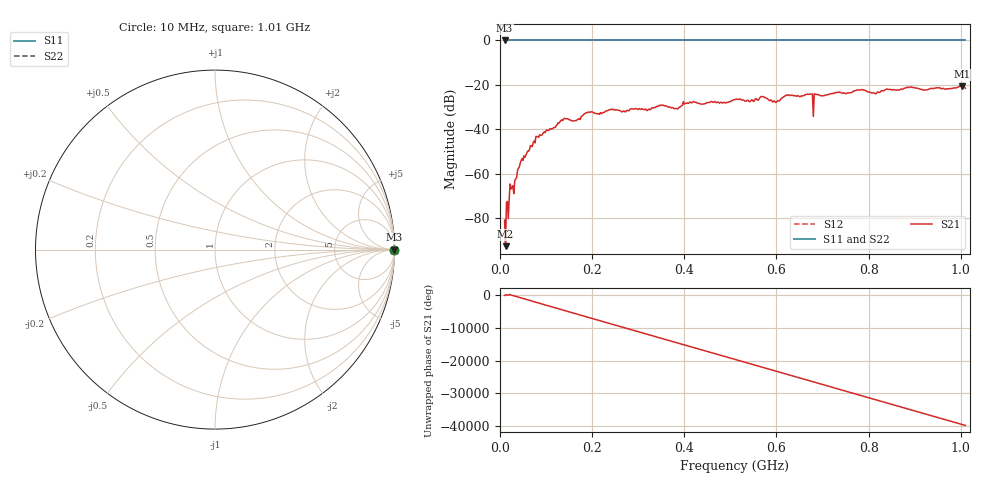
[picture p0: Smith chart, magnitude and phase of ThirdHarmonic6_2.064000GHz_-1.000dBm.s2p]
! 8/17/2025 12:44:00 AM
! C:\ANRITSUVNA\TEMP\TEMP.S2P
! CHANNEL.1
! TR.MEASUREMENT
! RAW.DATA
! RF.CORRECTION.OFF
! AVERAGING.OFF
! IF.BANDWIDTH: 5KHZ
! SWEEPTYPE:  FREQ.SWEEP(Linear)
! Reference Plane Port Info
! PORT:  PORT1  PORT2
! DISTANCE:  0  m  0  m
! TIME:  0  s  0  s
! PHASE.OFFSET:  0  deg.  0  deg.
! LOSS:  0  dB  0  dB
! REF.LOSS:  0  dB  0  dB
! REF.FREQ:  0  Hz  0  Hz
! Power Info
! POWER:  -20  dBm  -20  dBm
! EFF.POWER:  -20  dBm  -20  dBm
! SOURCE.ATTEN:  0  dB  0  dB
! TEST.ATTEN:  0  dB  0  dB
# GHZ S RI R 50.0
! FREQ.GHZ  S11RE  S11IM  S21RE  S21IM  S12RE  S12IM  S22RE  S22IM
!; PortSelection: Port_12
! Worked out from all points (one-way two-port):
!   501 points, 10 MHz to 1.01 GHz, reference 50 ohm
!   highest |S21| = -20.55 dB at 1.002 GHz (marker M1); lowest = -92.5 dB at 12 MHz (marker M2)
!   lowest |S11| = 0.0 dB at 10 MHz (marker M3)
!   |S11| at or under -10 dB: nowhere
!   |S22| runs from 0.0 to 0.0 dB; largest |S21 - S12| = 1.1
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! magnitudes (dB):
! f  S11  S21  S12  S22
! 10 MHz  0.0  -80.8  0.0  0.0
! 12 MHz  0.0  -92.5  0.0  0.0
! 14 MHz  0.0  -73.1  0.0  0.0
! 24 MHz  0.0  -66.8  0.0  0.0
! 32 MHz  0.0  -63.1  0.0  0.0
! 44 MHz  0.0  -55.0  0.0  0.0
! 82 MHz  0.0  -43.2  0.0  0.0
! 136 MHz  0.0  -36.1  0.0  0.0
! 178 MHz  0.0  -34.0  0.0  0.0
! 344 MHz  0.0  -29.6  0.0  0.0
! 382 MHz  0.0  -30.5  0.0  0.0
! 402 MHz  0.0  -28.4  0.0  0.0
! 510 MHz  0.0  -26.6  0.0  0.0
! 570 MHz  0.0  -25.3  0.0  0.0
! 596 MHz  0.0  -27.3  0.0  0.0
! 624 MHz  0.0  -24.4  0.0  0.0
! 674 MHz  0.0  -24.1  0.0  0.0
! 678 MHz  0.0  -24.1  0.0  0.0
! 686 MHz  0.0  -24.3  0.0  0.0
! 844 MHz  0.0  -22.1  0.0  0.0
! 1.002 GHz  0.0  -20.5  0.0  0.0
! 1.01 GHz  0.0  -21.6  0.0  0.0
